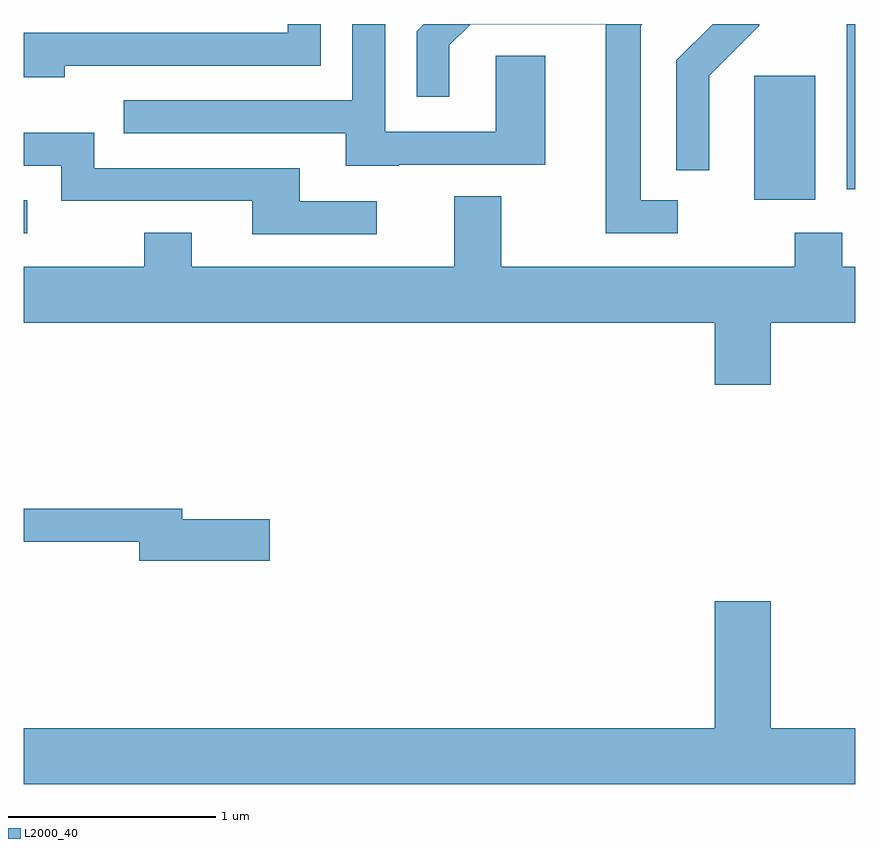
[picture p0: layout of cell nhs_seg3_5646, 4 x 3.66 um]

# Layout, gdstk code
import gdstk
lib = gdstk.Library(unit=1e-6, precision=1e-09)
def R(c, l, rs):  # rectangles x0, y0, x1, y1
    for r in rs: c.add(gdstk.rectangle(r[:2], r[2:], *l))
def P(c, l, *ps):  # polygons
    for p in ps: c.add(gdstk.Polygon(p, *l))
L2000_40 = (2000, 40)

nhs_seg3_5646 = lib.new_cell('nhs_seg3_5646')
R(nhs_seg3_5646, L2000_40, [(351.611,1130.886,351.628,1131.044), (355.126,1131.046,355.419,1131.644), (355.571,1131.096,355.611,1131.892)])
P(nhs_seg3_5646, L2000_40, [(353.415,1131.216),(354.119,1131.216),(354.119,1131.739),(353.881,1131.739),(353.881,1131.374),(353.349,1131.374),(353.349,1131.892),(353.191,1131.892),(353.191,1131.524),(352.093,1131.524),(352.093,1131.366),(353.161,1131.366),(353.161,1131.211),(353.415,1131.211)],
  [(354.758,1131.044),(354.579,1131.044),(354.579,1131.884),(354.587,1131.892),(353.536,1131.892),(353.501,1131.857),(353.501,1131.543),(353.659,1131.543),(353.659,1131.789),(353.762,1131.891),(354.411,1131.891),(354.411,1130.886),(354.758,1130.886)],
  [(351.809,1131.691),(353.039,1131.691),(353.039,1131.892),(352.881,1131.892),(352.881,1131.849),(351.611,1131.849),(351.611,1131.636),(351.809,1131.636)],
  [(354.909,1131.644),(355.149,1131.884),(355.149,1131.892),(354.926,1131.892),(354.751,1131.717),(354.751,1131.188),(354.909,1131.188)],
  [(353.308,1131.039),(352.939,1131.039),(352.939,1131.199),(351.949,1131.199),(351.949,1131.369),(351.611,1131.369),(351.611,1131.211),(351.791,1131.211),(351.791,1131.041),(352.711,1131.041),(352.711,1130.881),(353.308,1130.881)],
  [(355.204,1130.456),(355.611,1130.456),(355.611,1130.724),(355.549,1130.724),(355.549,1130.889),(355.321,1130.889),(355.321,1130.724),(353.909,1130.724),(353.909,1131.064),(353.681,1131.064),(353.681,1130.724),(352.419,1130.724),(352.419,1130.889),(352.191,1130.889),(352.191,1130.724),(351.611,1130.724),(351.611,1130.456),(354.936,1130.456),(354.936,1130.156),(355.204,1130.156)],
  [(352.794,1129.509),(352.374,1129.509),(352.374,1129.559),(351.611,1129.559),(351.611,1129.401),(352.166,1129.401),(352.166,1129.311),(352.794,1129.311)],
  [(355.611,1128.504),(355.204,1128.504),(355.204,1129.114),(354.936,1129.114),(354.936,1128.504),(351.611,1128.504),(351.611,1128.236),(355.611,1128.236)])

lib.write_gds('nhs_seg3_5646.gds')
